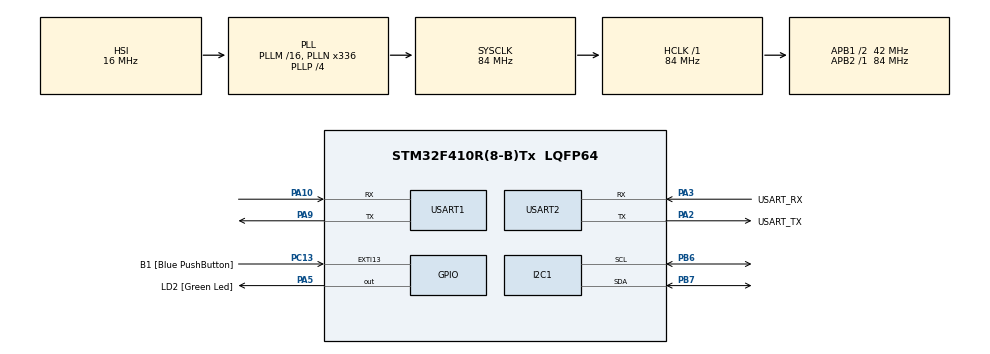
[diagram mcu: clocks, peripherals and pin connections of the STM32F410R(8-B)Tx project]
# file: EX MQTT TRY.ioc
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Mcu.Family=STM32F4
Mcu.Name=STM32F410R(8-B)Tx
Mcu.Package=LQFP64
NVIC.PriorityGroup=NVIC_PRIORITYGROUP_0
PA10.Mode=Asynchronous
PA10.Signal=USART1_RX
PA13.GPIO_Label=TMS
PA13.Mode=Serial_Wire
PA13.Signal=SYS_JTMS-SWDIO
PA14.GPIO_Label=TCK
PA14.Mode=Serial_Wire
PA14.Signal=SYS_JTCK-SWCLK
PA2.GPIO_Label=USART_TX
PA2.Mode=Asynchronous
PA2.Signal=USART2_TX
PA3.GPIO_Label=USART_RX
PA3.Mode=Asynchronous
PA3.Signal=USART2_RX
PA5.GPIO_Label=LD2 [Green Led]
PA5.Signal=GPIO_Output
PA9.Mode=Asynchronous
PA9.Signal=USART1_TX
PB3.GPIO_Label=SWO
PB3.Signal=SYS_JTDO-SWO
PB6.Mode=I2C
PB6.Signal=I2C1_SCL
PB7.Mode=I2C
PB7.Signal=I2C1_SDA
PC13-ANTI_TAMP.GPIO_Label=B1 [Blue PushButton]
PC13-ANTI_TAMP.GPIO_ModeDefaultEXTI=GPIO_MODE_IT_FALLING
PC13-ANTI_TAMP.Signal=GPXTI13
PC14-OSC32_IN.Mode=LSE-External-Oscillator
PC14-OSC32_IN.Signal=RCC_OSC32_IN
PC15-OSC32_OUT.Mode=LSE-External-Oscillator
PC15-OSC32_OUT.Signal=RCC_OSC32_OUT
PH0\ -\ OSC_IN.Mode=HSE-External-Clock-Source
PH0\ -\ OSC_IN.Signal=RCC_OSC_IN
PH1\ -\ OSC_OUT.Mode=HSE-External-Clock-Source
PH1\ -\ OSC_OUT.Signal=RCC_OSC_OUT
ProjectManager.HeapSize=0x200
ProjectManager.StackSize=0x400
ProjectManager.TargetToolchain=MDK-ARM V5.32
RCC.48MHZClocksFreq_Value=84000000
RCC.AHBFreq_Value=84000000
RCC.APB1CLKDivider=RCC_HCLK_DIV2
RCC.APB1Freq_Value=42000000
RCC.APB1TimFreq_Value=84000000
RCC.APB2Freq_Value=84000000
RCC.APB2TimFreq_Value=84000000
RCC.CortexFreq_Value=84000000
RCC.FLatency-AdvancedSettings=FLASH_LATENCY_2
RCC.HCLKFreq_Value=84000000
RCC.HSE_VALUE=8000000
RCC.HSI_VALUE=16000000
RCC.PLLN=336
RCC.PLLP=RCC_PLLP_DIV4
RCC.SYSCLKFreq_VALUE=84000000
RCC.SYSCLKSource=RCC_SYSCLKSOURCE_PLLCLK
RCC.VCOOutputFreq_Value=336000000
USART1.VirtualMode=VM_ASYNC
USART2.VirtualMode=VM_ASYNC
board=NUCLEO-F410RB

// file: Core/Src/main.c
/* USER CODE BEGIN Header */
/**
  ******************************************************************************
  * @file           : main.c
  * @brief          : Main program body
  ******************************************************************************
  * @attention
  *
  * Copyright (c) 2026 STMicroelectronics.
  * All rights reserved.
  *
  * This software is licensed under terms that can be found in the LICENSE file
  * in the root directory of this software component.
  * If no LICENSE file comes with this software, it is provided AS-IS.
  *
  ******************************************************************************
  */
/* USER CODE END Header */
#include "main.h"

/* USER CODE BEGIN Includes */
#include "ESPLib.h"
#include "bme280.h"
#include <stdio.h>
#include <string.h>
/* USER CODE END Includes */

I2C_HandleTypeDef hi2c1;

UART_HandleTypeDef huart1;
UART_HandleTypeDef huart2;

/* USER CODE BEGIN PV */

struct bme280_dev dev;
struct bme280_data comp_data;

int8_t rslt = BME280_OK;

float temperature, pressure, humidity;

static uint8_t dev_addr = BME280_I2C_ADDR_PRIM;

/* USER CODE END PV */

void SystemClock_Config(void);
static void MX_GPIO_Init(void);
static void MX_I2C1_Init(void);
static void MX_USART1_UART_Init(void);
static void MX_USART2_UART_Init(void);
/* USER CODE BEGIN PFP */
int8_t user_i2c_read(
    uint8_t reg_addr,
    uint8_t *reg_data,
    uint32_t len,
    void *intf_ptr
);

int8_t user_i2c_write(
    uint8_t reg_addr,
    const uint8_t *reg_data,
    uint32_t len,
    void *intf_ptr
);

void user_delay_us(uint32_t period, void *intf_ptr);
void debug_print(char *msg);
/* USER CODE END PFP */

int main(void)
{
	char mqttPayload[100];

  /* MCU Configuration--------------------------------------------------------*/

  /* Reset of all peripherals, Initializes the Flash interface and the Systick. */
  HAL_Init();

  /* Configure the system clock */
  SystemClock_Config();

  /* Initialize all configured peripherals */
  MX_GPIO_Init();
  MX_I2C1_Init();
  MX_USART1_UART_Init();
  MX_USART2_UART_Init();
  /* USER CODE BEGIN 2 */
	// ================= BME280 INITIALIZATION =================

	// Configure BME280 communication interface
	dev.intf_ptr = &dev_addr;
	dev.intf = BME280_I2C_INTF;
	dev.read = user_i2c_read;
	dev.write = user_i2c_write;
	dev.delay_us = user_delay_us;

	// Initialize BME280
	rslt = bme280_init(&dev);

	if (rslt != BME280_OK)
	{
			debug_print("BME280 initialization FAILED\r\n");
			Error_Handler();
	}

	debug_print("BME280 initialized successfully\r\n");

	// Configure sensor settings
	struct bme280_settings settings;

	settings.osr_h = BME280_OVERSAMPLING_1X;
	settings.osr_p = BME280_OVERSAMPLING_1X;
	settings.osr_t = BME280_OVERSAMPLING_1X;
	settings.filter = BME280_FILTER_COEFF_OFF;

	rslt = bme280_set_sensor_settings(
			BME280_SEL_OSR_PRESS |
			BME280_SEL_OSR_TEMP |
			BME280_SEL_OSR_HUM |
			BME280_SEL_FILTER,
			&settings,
			&dev
	);

	if (rslt != BME280_OK)
	{
			debug_print("BME280 settings FAILED\r\n");
			Error_Handler();
	}

	// Set sensor to normal mode
	rslt = bme280_set_sensor_mode(BME280_POWERMODE_NORMAL, &dev);

	if (rslt != BME280_OK)
	{
			debug_print("BME280 normal mode FAILED\r\n");
			Error_Handler();
	}

	debug_print("BME280 configuration completed\r\n");

	// ================= ESP8266 INITIALIZATION =================

	debug_print("Starting ESP8266...\r\n");
	if (ESP8266_Init(StationMode, &huart1) == funcOk)
	{
			debug_print("ESP8266 initialized successfully\r\n");
	}
	else
	{
			debug_print("ESP8266 initialization FAILED\r\n");
			Error_Handler();
	}

	debug_print("Connecting WiFi...\r\n");
	ESP8266_wifiConnect("SNUC", "snu12345");
	debug_print("WiFi connection function completed\r\n");

	debug_print("Setting single connection mode...\r\n");

	ESP8266_setSingleConnection();  // We'll create this function

	debug_print("Connecting to MQTT TCP port...\r\n");
	ESP8266_portConnect("TCP", "broker.emqx.io", "1883");
	debug_print("TCP connection function completed\r\n");

	MQTT_InitTypeDef_t mqttSetting={0};

	mqttSetting.keepAlive = 500;
	mqttSetting.connectFlag = CleanSession;
	mqttSetting.clientID = "AN_Publisher";

	debug_print("Connecting to MQTT broker...\r\n");
	MQTT_connectBroker(&mqttSetting);
	debug_print("MQTT connection function completed\r\n");
  /* USER CODE END 2 */

  /* Infinite loop */
  /* USER CODE BEGIN WHILE */
	while (1)
	{
			// Read BME280 sensor data
			rslt = bme280_get_sensor_data(
					BME280_ALL,
					&comp_data,
					&dev
			);

			if (rslt == BME280_OK)
			{
					// Store sensor readings
					temperature = comp_data.temperature;
					pressure = comp_data.pressure / 100.0f;
					humidity = comp_data.humidity;

					// Construct JSON payload
					sprintf(mqttPayload,
									"{\"status\":\"success\","
									"\"temperature\":%.2f,"
									"\"humidity\":%.2f,"
									"\"pressure\":%.2f}",
									temperature,
									humidity,
									pressure);

					// Publish readings to MQTT broker
					MQTT_publishTopic("iot/bme", mqttPayload, QoS0);

					// Print readings on serial monitor
					char debugBuffer[120];

					sprintf(debugBuffer,
									"Temp: %.2f C, Humidity: %.2f %%, Pressure: %.2f hPa\r\n",
									temperature,
									humidity,
									pressure);

					debug_print(debugBuffer);
			}
			else
			{
					debug_print("BME280 reading FAILED\r\n");
			}

			HAL_Delay(1000);
	}
  /* USER CODE END 3 */
}

void SystemClock_Config(void)
{
  RCC_OscInitTypeDef RCC_OscInitStruct = {0};
  RCC_ClkInitTypeDef RCC_ClkInitStruct = {0};

  /** Configure the main internal regulator output voltage
  */
  __HAL_RCC_PWR_CLK_ENABLE();
  __HAL_PWR_VOLTAGESCALING_CONFIG(PWR_REGULATOR_VOLTAGE_SCALE1);

  /** Initializes the RCC Oscillators according to the specified parameters
  * in the RCC_OscInitTypeDef structure.
  */
  RCC_OscInitStruct.OscillatorType = RCC_OSCILLATORTYPE_HSI;
  RCC_OscInitStruct.HSIState = RCC_HSI_ON;
  RCC_OscInitStruct.HSICalibrationValue = RCC_HSICALIBRATION_DEFAULT;
  RCC_OscInitStruct.PLL.PLLState = RCC_PLL_ON;
  RCC_OscInitStruct.PLL.PLLSource = RCC_PLLSOURCE_HSI;
  RCC_OscInitStruct.PLL.PLLM = 16;
  RCC_OscInitStruct.PLL.PLLN = 336;
  RCC_OscInitStruct.PLL.PLLP = RCC_PLLP_DIV4;
  RCC_OscInitStruct.PLL.PLLQ = 4;
  RCC_OscInitStruct.PLL.PLLR = 2;
  if (HAL_RCC_OscConfig(&RCC_OscInitStruct) != HAL_OK)
  {
    Error_Handler();
  }

  /** Initializes the CPU, AHB and APB buses clocks
  */
  RCC_ClkInitStruct.ClockType = RCC_CLOCKTYPE_HCLK|RCC_CLOCKTYPE_SYSCLK
                              |RCC_CLOCKTYPE_PCLK1|RCC_CLOCKTYPE_PCLK2;
  RCC_ClkInitStruct.SYSCLKSource = RCC_SYSCLKSOURCE_PLLCLK;
  RCC_ClkInitStruct.AHBCLKDivider = RCC_SYSCLK_DIV1;
  RCC_ClkInitStruct.APB1CLKDivider = RCC_HCLK_DIV2;
  RCC_ClkInitStruct.APB2CLKDivider = RCC_HCLK_DIV1;

  if (HAL_RCC_ClockConfig(&RCC_ClkInitStruct, FLASH_LATENCY_2) != HAL_OK)
  {
    Error_Handler();
  }
}

static void MX_I2C1_Init(void)
{

  hi2c1.Instance = I2C1;
  hi2c1.Init.ClockSpeed = 100000;
  hi2c1.Init.DutyCycle = I2C_DUTYCYCLE_2;
  hi2c1.Init.OwnAddress1 = 0;
  hi2c1.Init.AddressingMode = I2C_ADDRESSINGMODE_7BIT;
  hi2c1.Init.DualAddressMode = I2C_DUALADDRESS_DISABLE;
  hi2c1.Init.OwnAddress2 = 0;
  hi2c1.Init.GeneralCallMode = I2C_GENERALCALL_DISABLE;
  hi2c1.Init.NoStretchMode = I2C_NOSTRETCH_DISABLE;
  if (HAL_I2C_Init(&hi2c1) != HAL_OK)
  {
    Error_Handler();
  }

}

static void MX_USART1_UART_Init(void)
{

  huart1.Instance = USART1;
  huart1.Init.BaudRate = 115200;
  huart1.Init.WordLength = UART_WORDLENGTH_8B;
  huart1.Init.StopBits = UART_STOPBITS_1;
  huart1.Init.Parity = UART_PARITY_NONE;
  huart1.Init.Mode = UART_MODE_TX_RX;
  huart1.Init.HwFlowCtl = UART_HWCONTROL_NONE;
  huart1.Init.OverSampling = UART_OVERSAMPLING_16;
  if (HAL_UART_Init(&huart1) != HAL_OK)
  {
    Error_Handler();
  }

}

static void MX_USART2_UART_Init(void)
{

  huart2.Instance = USART2;
  huart2.Init.BaudRate = 115200;
  huart2.Init.WordLength = UART_WORDLENGTH_8B;
  huart2.Init.StopBits = UART_STOPBITS_1;
  huart2.Init.Parity = UART_PARITY_NONE;
  huart2.Init.Mode = UART_MODE_TX_RX;
  huart2.Init.HwFlowCtl = UART_HWCONTROL_NONE;
  huart2.Init.OverSampling = UART_OVERSAMPLING_16;
  if (HAL_UART_Init(&huart2) != HAL_OK)
  {
    Error_Handler();
  }

}

static void MX_GPIO_Init(void)
{
  GPIO_InitTypeDef GPIO_InitStruct = {0};

  /* GPIO Ports Clock Enable */
  __HAL_RCC_GPIOC_CLK_ENABLE();
  __HAL_RCC_GPIOH_CLK_ENABLE();
  __HAL_RCC_GPIOA_CLK_ENABLE();
  __HAL_RCC_GPIOB_CLK_ENABLE();

  /*Configure GPIO pin Output Level */
  HAL_GPIO_WritePin(LD2_GPIO_Port, LD2_Pin, GPIO_PIN_RESET);

  /*Configure GPIO pin : B1_Pin */
  GPIO_InitStruct.Pin = B1_Pin;
  GPIO_InitStruct.Mode = GPIO_MODE_IT_FALLING;
  GPIO_InitStruct.Pull = GPIO_NOPULL;
  HAL_GPIO_Init(B1_GPIO_Port, &GPIO_InitStruct);

  /*Configure GPIO pin : LD2_Pin */
  GPIO_InitStruct.Pin = LD2_Pin;
  GPIO_InitStruct.Mode = GPIO_MODE_OUTPUT_PP;
  GPIO_InitStruct.Pull = GPIO_NOPULL;
  GPIO_InitStruct.Speed = GPIO_SPEED_FREQ_LOW;
  HAL_GPIO_Init(LD2_GPIO_Port, &GPIO_InitStruct);

}

/* USER CODE BEGIN 4 */

void debug_print(char *msg)
{
    HAL_UART_Transmit(&huart2,
                      (uint8_t *)msg,
                      strlen(msg),
                      HAL_MAX_DELAY);
}

int8_t user_i2c_read(
    uint8_t reg_addr,
    uint8_t *reg_data,
    uint32_t len,
    void *intf_ptr)
{
    uint8_t dev_addr = *(uint8_t *)intf_ptr;

    if (HAL_I2C_Mem_Read(
            &hi2c1,
            (dev_addr << 1),
            reg_addr,
            I2C_MEMADD_SIZE_8BIT,
            reg_data,
            len,
            HAL_MAX_DELAY) == HAL_OK)
    {
        return BME280_OK;
    }

    return BME280_E_COMM_FAIL;
}

int8_t user_i2c_write(
    uint8_t reg_addr,
    const uint8_t *reg_data,
    uint32_t len,
    void *intf_ptr)
{
    uint8_t dev_addr = *(uint8_t *)intf_ptr;

    if (HAL_I2C_Mem_Write(
            &hi2c1,
            (dev_addr << 1),
            reg_addr,
            I2C_MEMADD_SIZE_8BIT,
            (uint8_t *)reg_data,
            len,
            HAL_MAX_DELAY) == HAL_OK)
    {
        return BME280_OK;
    }

    return BME280_E_COMM_FAIL;
}

void user_delay_us(uint32_t period, void *intf_ptr)
{
    HAL_Delay((period / 1000) + 1);
}

/* USER CODE END 4 */

void Error_Handler(void)
{
  __disable_irq();
  while (1)
  {
  }
}
